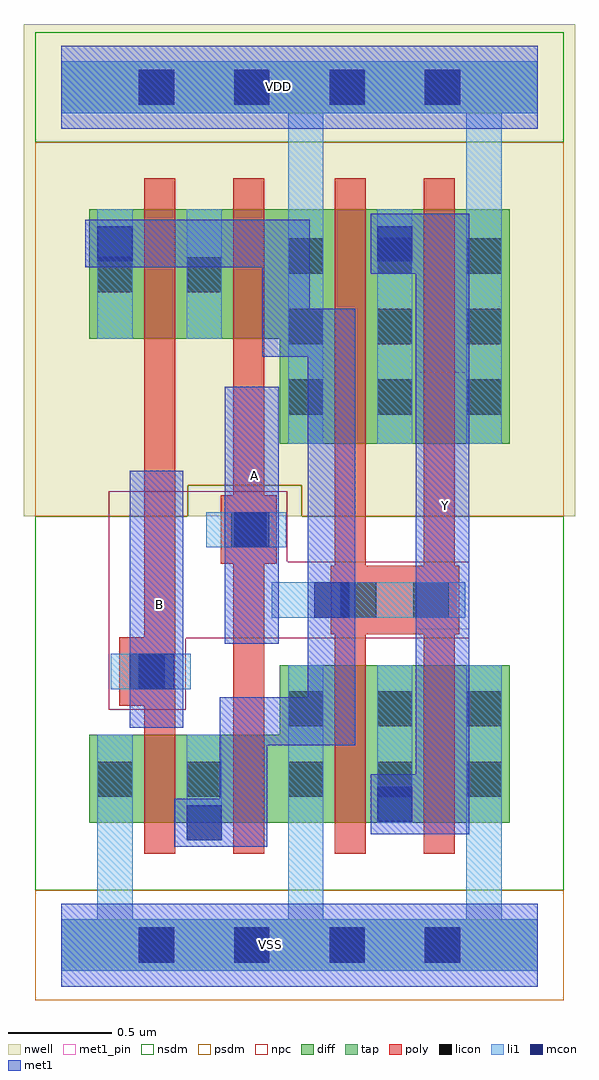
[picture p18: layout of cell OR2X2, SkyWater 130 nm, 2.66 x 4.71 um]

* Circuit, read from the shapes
.subckt OR2X2 A B VDD VSS Y
XM1 n1 B VSS VSS sky130_fd_pr__nfet_01v8 w=0.425 l=0.15
XM2 VSS A n1 VSS sky130_fd_pr__nfet_01v8 w=0.425 l=0.15
XM3 Y n1 VSS VSS sky130_fd_pr__nfet_01v8 w=0.76 l=0.15 m=2
XM4 n2 B n1 VDD sky130_fd_pr__pfet_01v8 w=0.625 l=0.15
XM5 VDD A n2 VDD sky130_fd_pr__pfet_01v8 w=0.625 l=0.15
XM6 Y n1 VDD VDD sky130_fd_pr__pfet_01v8 w=1.13 l=0.15 m=2
.ends

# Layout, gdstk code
from math import pi, radians
import gdstk
lib = gdstk.Library(unit=1e-6, precision=1e-09)
def R(c, l, rs):  # rectangles x0, y0, x1, y1
    for r in rs: c.add(gdstk.rectangle(r[:2], r[2:], *l))
def A(c, l, x, y, w, h, nx, ny, dx, dy):  # array of equal rectangles
    R(c, l, [(x+i*dx, y+j*dy, x+i*dx+w, y+j*dy+h) for i in range(nx) for j in range(ny)])
def P(c, l, *ps):  # polygons
    for p in ps: c.add(gdstk.Polygon(p, *l))
nwell = (64, 20)
diff = (65, 20)
tap = (65, 44)
poly = (66, 20)
licon = (66, 44)
li1 = (67, 20)
mcon = (67, 44)
met1_pin = (68, 16)
met1 = (68, 20)
nsdm = (93, 44)
psdm = (94, 20)
npc = (95, 20)

pfet_01v8_cdns_715785618 = lib.new_cell('pfet_01v8_CDNS_7157856182023')
R(pfet_01v8_cdns_715785618, nwell, [(-0.445,-0.18,1.025,1.31)])
R(pfet_01v8_cdns_715785618, diff, [(-0.265,0,0,1.13), (0,0,0.15,1.13), (0.15,0,0.43,1.13), (0.43,0,0.58,1.13), (0.58,0,0.845,1.13)])
R(pfet_01v8_cdns_715785618, poly, [(0,-0.15,0.15,-0.095), (0.43,-0.15,0.58,-0.095), (0,-0.095,0.15,0), (0.43,-0.095,0.58,0), (0,0,0.15,1.13), (0.43,0,0.58,1.13), (0,1.13,0.15,1.225), (0.43,1.13,0.58,1.225), (0,1.225,0.15,1.28), (0.43,1.225,0.58,1.28)])
A(pfet_01v8_cdns_715785618, licon, -0.225, 0.14, 0.17, 0.17, 3, 3, 0.43, 0.34)
A(pfet_01v8_cdns_715785618, li1, -0.225, 0, 0.17, 1.13, 3, 1, 0.43, 0)
R(pfet_01v8_cdns_715785618, psdm, [(-0.405,-0.13,0.985,1.26)])

c_pfet_01v8_cdns_715785618 = lib.new_cell('pfet_01v8_CDNS_7157856182035')
R(c_pfet_01v8_cdns_715785618, nwell, [(-0.255,-0.18,0.385,0.805)])
R(c_pfet_01v8_cdns_715785618, diff, [(-0.075,0,0,0.625), (0,0,0.15,0.625), (0.15,0,0.205,0.625)])
R(c_pfet_01v8_cdns_715785618, poly, [(0,-0.15,0.15,-0.095), (0,-0.095,0.15,0), (0,0,0.15,0.625), (0,0.625,0.15,0.72), (0,0.72,0.15,0.775)])
R(c_pfet_01v8_cdns_715785618, psdm, [(0.045,-0.13,0.215,0.755)])

nfet_01v8_cdns_715785618 = lib.new_cell('nfet_01v8_CDNS_7157856182011')
R(nfet_01v8_cdns_715785618, diff, [(-0.265,0,0,0.425), (0,0,0.15,0.425), (0.15,0,0.205,0.425)])
R(nfet_01v8_cdns_715785618, poly, [(0,-0.15,0.15,-0.095), (0,-0.095,0.15,0), (0,0,0.15,0.425), (0,0.425,0.15,0.52), (0,0.52,0.15,0.575)])
R(nfet_01v8_cdns_715785618, licon, [(-0.225,0.125,-0.055,0.295)])
R(nfet_01v8_cdns_715785618, li1, [(-0.225,0,-0.055,0.425)])
R(nfet_01v8_cdns_715785618, nsdm, [(-0.405,-0.13,0.215,0.555)])

c_nfet_01v8_cdns_715785618 = lib.new_cell('nfet_01v8_CDNS_71578561820120')
R(c_nfet_01v8_cdns_715785618, diff, [(-0.075,0,0,0.425), (0,0,0.15,0.425), (0.15,0,0.375,0.425)])
R(c_nfet_01v8_cdns_715785618, poly, [(0,-0.15,0.15,-0.095), (0,-0.095,0.15,0), (0,0,0.15,0.425), (0,0.425,0.15,0.52), (0,0.52,0.15,0.575)])
R(c_nfet_01v8_cdns_715785618, licon, [(0.205,0.125,0.375,0.295)])
R(c_nfet_01v8_cdns_715785618, li1, [(0.205,0,0.375,0.425)])
R(c_nfet_01v8_cdns_715785618, nsdm, [(0.045,-0.13,0.385,0.555)])

c_pfet_01v8_cdns_715785618_ = lib.new_cell('pfet_01v8_CDNS_7157856182098')
R(c_pfet_01v8_cdns_715785618_, nwell, [(-0.405,-0.18,0.595,0.805)])
R(c_pfet_01v8_cdns_715785618_, diff, [(-0.225,0,0,0.625), (0,0,0.15,0.625), (0.15,0,0.415,0.625)])
R(c_pfet_01v8_cdns_715785618_, poly, [(0,-0.15,0.15,-0.095), (0,-0.095,0.15,0), (0,0,0.15,0.625), (0,0.625,0.15,0.72), (0,0.72,0.15,0.775)])
R(c_pfet_01v8_cdns_715785618_, licon, [(0.205,0.225,0.375,0.395)])
R(c_pfet_01v8_cdns_715785618_, li1, [(0.205,0,0.375,0.625)])
R(c_pfet_01v8_cdns_715785618_, psdm, [(-0.235,-0.13,0.555,0.755)])

c_nfet_01v8_cdns_715785618_ = lib.new_cell('nfet_01v8_CDNS_7157856182028')
R(c_nfet_01v8_cdns_715785618_, diff, [(-0.265,0,0,0.76), (0,0,0.15,0.76), (0.15,0,0.43,0.76), (0.43,0,0.58,0.76), (0.58,0,0.845,0.76)])
R(c_nfet_01v8_cdns_715785618_, poly, [(0,-0.15,0.15,-0.095), (0.43,-0.15,0.58,-0.095), (0,-0.095,0.15,0), (0.43,-0.095,0.58,0), (0,0,0.15,0.76), (0.43,0,0.58,0.76), (0,0.76,0.15,0.855), (0.43,0.76,0.58,0.855), (0,0.855,0.15,0.91), (0.43,0.855,0.58,0.91)])
A(c_nfet_01v8_cdns_715785618_, licon, -0.225, 0.125, 0.17, 0.17, 3, 2, 0.43, 0.34)
A(c_nfet_01v8_cdns_715785618_, li1, -0.225, 0, 0.17, 0.76, 3, 1, 0.43, 0)
R(c_nfet_01v8_cdns_715785618_, nsdm, [(-0.405,-0.13,0.985,0.89)])

l1m1_c_cdns_715785618202 = lib.new_cell('L1M1_C_CDNS_715785618202')
R(l1m1_c_cdns_715785618202, li1, [(-0.085,-0.165,0.085,0.165)])
R(l1m1_c_cdns_715785618202, mcon, [(-0.085,-0.085,0.085,0.085)])
R(l1m1_c_cdns_715785618202, met1, [(-0.115,-0.145,0.115,0.145)])

c_l1m1_c_cdns_715785618202 = lib.new_cell('L1M1_C_CDNS_7157856182024')
R(c_l1m1_c_cdns_715785618202, li1, [(-0.085,-0.085,0.085,0.165)])
R(c_l1m1_c_cdns_715785618202, mcon, [(-0.085,-0.085,0.085,0.085)])
R(c_l1m1_c_cdns_715785618202, met1, [(-0.145,-0.115,0.145,0.115)])

pyl1con_c_cdns_715785618 = lib.new_cell('PYL1CON_C_CDNS_715785618200')
R(pyl1con_c_cdns_715785618, poly, [(-0.135,-0.165,0.135,0.165)])
R(pyl1con_c_cdns_715785618, licon, [(-0.085,-0.085,0.085,0.085)])
R(pyl1con_c_cdns_715785618, npc, [(-0.185,-0.185,0.185,0.185)])

l1m1_c_cdns_715785618203 = lib.new_cell('L1M1_C_CDNS_715785618203')
R(l1m1_c_cdns_715785618203, li1, [(-0.165,-0.085,0.165,0.085)])
R(l1m1_c_cdns_715785618203, mcon, [(-0.085,-0.085,0.085,0.085)])
R(l1m1_c_cdns_715785618203, met1, [(-0.115,-0.145,0.115,0.145)])

l1m1_c_cdns_715785618206 = lib.new_cell('L1M1_C_CDNS_715785618206')
R(l1m1_c_cdns_715785618206, li1, [(-0.085,-0.165,0.085,0.165)])
R(l1m1_c_cdns_715785618206, mcon, [(-0.085,-0.085,0.085,0.085)])
R(l1m1_c_cdns_715785618206, met1, [(-0.145,-0.115,0.145,0.115)])

l1m1_c_cdns_715785618201 = lib.new_cell('L1M1_C_CDNS_7157856182010')
R(l1m1_c_cdns_715785618201, li1, [(-0.085,-0.085,0.085,0.165)])
R(l1m1_c_cdns_715785618201, mcon, [(-0.085,-0.085,0.085,0.085)])
R(l1m1_c_cdns_715785618201, met1, [(-0.115,-0.145,0.115,0.145)])

or2x2 = lib.new_cell('OR2X2')
R(or2x2, nwell, [(-0.18,2.07,2.48,4.305), (-0.18,3.875,2.48,4.445)])
R(or2x2, poly, [(1.3,1.5,1.92,1.83)])
R(or2x2, licon, [(0.375,-0.085,0.545,0.085), (0.375,-0.085,0.545,0.085), (0.835,-0.085,1.005,0.085), (0.835,-0.085,1.005,0.085), (1.295,-0.085,1.465,0.085), (1.295,-0.085,1.465,0.085), (1.755,-0.085,1.925,0.085), (1.755,-0.085,1.925,0.085), (0.605,3.15,0.775,3.32), (0.375,4.055,0.545,4.225), (0.375,4.055,0.545,4.225), (0.835,4.055,1.005,4.225), (0.835,4.055,1.005,4.225), (1.295,4.055,1.465,4.225), (1.295,4.055,1.465,4.225), (1.755,4.055,1.925,4.225), (1.755,4.055,1.925,4.225)])
R(or2x2, li1, [(0.605,2.925,0.775,3.55)])
R(or2x2, mcon, [(0.375,-0.085,0.545,0.085), (0.375,-0.085,0.545,0.085), (0.835,-0.085,1.005,0.085), (0.835,-0.085,1.005,0.085), (1.295,-0.085,1.465,0.085), (1.295,-0.085,1.465,0.085), (1.755,-0.085,1.925,0.085), (1.755,-0.085,1.925,0.085), (0.375,4.055,0.545,4.225), (0.375,4.055,0.545,4.225), (0.835,4.055,1.005,4.225), (0.835,4.055,1.005,4.225), (1.295,4.055,1.465,4.225), (1.295,4.055,1.465,4.225), (1.755,4.055,1.925,4.225), (1.755,4.055,1.925,4.225)])
R(or2x2, met1_pin, [(0.33,1.05,0.59,2.29), (0.79,1.455,1.05,2.695), (1.71,1.525,1.97,2.765)])
R(or2x2, nsdm, [(-0.125,3.875,2.425,4.405), (-0.125,3.875,2.425,4.405), (-0.125,3.93,2.425,4.35), (-0.125,3.93,2.425,4.35)])
P(or2x2, nsdm, [(2.425,2.07),(1.16,2.07),(1.16,2.22),(0.61,2.22),(0.61,2.07),(-0.125,2.07),(-0.125,0.265),(2.425,0.265)])
R(or2x2, psdm, [(-0.125,-0.265,2.425,0.265), (-0.125,-0.21,2.425,0.21)])
P(or2x2, psdm, [(2.425,3.875),(-0.125,3.875),(-0.125,2.07),(0.61,2.07),(0.61,2.22),(1.16,2.22),(1.16,2.07),(2.425,2.07)])
P(or2x2, npc, [(1.97,1.85),(1.09,1.85),(1.09,2.19),(0.23,2.19),(0.23,1.14),(0.6,1.14),(0.6,1.48),(1.97,1.48)])
or2x2.add(gdstk.FlexPath([(1.395,2.27),(1.395,1.5)], 0.15, ends="flush", simple_path=True, layer=66, datatype=20))  # poly
or2x2.add(gdstk.FlexPath([(1.825,2.27),(1.825,1.5)], 0.15, ends="flush", simple_path=True, layer=66, datatype=20))  # poly
or2x2.add(gdstk.FlexPath([(0.475,2.775),(0.475,1.165)], 0.15, ends="flush", simple_path=True, layer=66, datatype=20))  # poly
or2x2.add(gdstk.FlexPath([(0.905,2.775),(0.905,1.165)], 0.15, ends="flush", simple_path=True, layer=66, datatype=20))  # poly
or2x2.add(gdstk.FlexPath([(0.24,1.32),(0.6,1.32)], 0.17, ends="flush", simple_path=True, layer=67, datatype=20))  # li1
or2x2.add(gdstk.FlexPath([(1.015,1.665),(1.95,1.665)], 0.17, ends="flush", simple_path=True, layer=67, datatype=20))  # li1
or2x2.add(gdstk.FlexPath([(0.7,2.005),(1.07,2.005)], 0.17, ends="flush", simple_path=True, layer=67, datatype=20))  # li1
or2x2.add(gdstk.FlexPath([(2.215,0),(0,0)], 0.25, ends=(0.085, 0), simple_path=True, layer=67, datatype=20))  # li1
or2x2.add(gdstk.FlexPath([(2.215,0),(0,0)], 0.25, ends=(0.085, 0), simple_path=True, layer=67, datatype=20))  # li1
or2x2.add(gdstk.FlexPath([(2.215,4.14),(0,4.14)], 0.25, ends=(0.085, 0), simple_path=True, layer=67, datatype=20))  # li1
or2x2.add(gdstk.FlexPath([(2.215,4.14),(0,4.14)], 0.25, ends=(0.085, 0), simple_path=True, layer=67, datatype=20))  # li1
or2x2.add(gdstk.FlexPath([(1.18,3.51),(1.18,4.14)], 0.17, ends="flush", simple_path=True, layer=67, datatype=20))  # li1
or2x2.add(gdstk.FlexPath([(0.26,0.61),(0.26,0)], 0.17, ends="flush", simple_path=True, layer=67, datatype=20))  # li1
or2x2.add(gdstk.FlexPath([(1.18,0.61),(1.18,0)], 0.17, ends="flush", simple_path=True, layer=67, datatype=20))  # li1
or2x2.add(gdstk.FlexPath([(2.04,3.51),(2.04,4.14)], 0.17, ends="flush", simple_path=True, layer=67, datatype=20))  # li1
or2x2.add(gdstk.FlexPath([(2.04,0.61),(2.04,0)], 0.17, ends="flush", simple_path=True, layer=67, datatype=20))  # li1
or2x2.add(gdstk.FlexPath([(0,0),(2.3,0)], 0.25, ends="flush", simple_path=True, layer=65, datatype=44))  # tap
or2x2.add(gdstk.FlexPath([(0,0),(2.3,0)], 0.25, ends="flush", simple_path=True, layer=65, datatype=44))  # tap
or2x2.add(gdstk.FlexPath([(0,4.14),(2.3,4.14)], 0.25, ends="flush", simple_path=True, layer=65, datatype=44))  # tap
or2x2.add(gdstk.FlexPath([(0,4.14),(2.3,4.14)], 0.25, ends="flush", simple_path=True, layer=65, datatype=44))  # tap
or2x2.add(gdstk.FlexPath([(1.305,1.425),(1.305,1.08)], 0.23, ends=(0, 0.115), simple_path=True, layer=68, datatype=20))  # met1
or2x2.add(gdstk.FlexPath([(1.085,2.955),(1.305,2.955)], 0.23, ends="extended", simple_path=True, layer=68, datatype=20))  # met1
or2x2.add(gdstk.FlexPath([(0.46,1.05),(0.46,2.29)], 0.26, ends="flush", simple_path=True, layer=68, datatype=20))  # met1
or2x2.add(gdstk.FlexPath([(0.92,1.455),(0.92,2.695)], 0.26, ends="flush", simple_path=True, layer=68, datatype=20))  # met1
or2x2.add(gdstk.FlexPath([(1.305,1.08),(0.88,1.08)], 0.23, ends="extended", simple_path=True, layer=68, datatype=20))  # met1
or2x2.add(gdstk.FlexPath([(1.305,2.955),(1.305,1.92)], 0.23, ends=(0.115, 0), simple_path=True, layer=68, datatype=20))  # met1
or2x2.add(gdstk.FlexPath([(1.305,1.92),(1.305,1.68)], 0.23, ends=(0, 0.115), simple_path=True, layer=68, datatype=20))  # met1
or2x2.add(gdstk.FlexPath([(0.275,3.385),(1.085,3.385)], 0.23, ends=(0, 0.115), simple_path=True, layer=68, datatype=20))  # met1
or2x2.add(gdstk.FlexPath([(1.305,1.68),(1.305,1.425)], 0.23, ends=(0, 0.115), simple_path=True, layer=68, datatype=20))  # met1
or2x2.add(gdstk.FlexPath([(1.085,3.385),(1.085,2.955)], 0.23, ends=(0, 0.115), simple_path=True, layer=68, datatype=20))  # met1
or2x2.add(gdstk.FlexPath([(0.88,1.08),(0.88,0.475)], 0.23, ends=(0.115, 0), simple_path=True, layer=68, datatype=20))  # met1
or2x2.add(gdstk.FlexPath([(1.84,0.535),(1.84,3.53)], 0.26, ends="flush", simple_path=True, layer=68, datatype=20))  # met1
or2x2.add(gdstk.FlexPath([(0,0),(2.3,0)], 0.4, ends="flush", simple_path=True, layer=68, datatype=20))  # met1
or2x2.add(gdstk.FlexPath([(0,4.14),(2.3,4.14)], 0.4, ends="flush", simple_path=True, layer=68, datatype=20))  # met1
or2x2.add(gdstk.FlexPath([(0,0),(2.3,0)], 0.4, ends="flush", simple_path=True, layer=68, datatype=16))  # met1_pin
or2x2.add(gdstk.FlexPath([(0,4.14),(2.3,4.14)], 0.4, ends="flush", simple_path=True, layer=68, datatype=16))  # met1_pin
or2x2.add(gdstk.FlexPath([(0,4.14),(2.3,4.14)], 0.4, ends="flush", simple_path=True, layer=68, datatype=16))  # met1_pin
or2x2.add(gdstk.FlexPath([(0,0),(2.3,0)], 0.4, ends="flush", simple_path=True, layer=68, datatype=16))  # met1_pin
or2x2.add(gdstk.Reference(pfet_01v8_cdns_715785618, (1.32,2.42)))
or2x2.add(gdstk.Reference(c_pfet_01v8_cdns_715785618, (0.98,2.925), rotation=pi, x_reflection=True))
or2x2.add(gdstk.Reference(nfet_01v8_cdns_715785618, (0.4,0.59)))
or2x2.add(gdstk.Reference(c_nfet_01v8_cdns_715785618, (0.98,0.59), rotation=pi, x_reflection=True))
or2x2.add(gdstk.Reference(c_pfet_01v8_cdns_715785618_, (0.55,2.925), rotation=pi, x_reflection=True))
or2x2.add(gdstk.Reference(c_nfet_01v8_cdns_715785618_, (1.32,0.59)))
or2x2.add(gdstk.Reference(l1m1_c_cdns_715785618202, (1.61,3.385)))
or2x2.add(gdstk.Reference(c_l1m1_c_cdns_715785618202, (0.69,0.59)))
or2x2.add(gdstk.Reference(pyl1con_c_cdns_715785618, (1.435,1.665)))
or2x2.add(gdstk.Reference(pyl1con_c_cdns_715785618, (0.905,2.005)))
or2x2.add(gdstk.Reference(pyl1con_c_cdns_715785618, (1.785,1.665)))
or2x2.add(gdstk.Reference(pyl1con_c_cdns_715785618, (0.415,1.32)))
or2x2.add(gdstk.Reference(l1m1_c_cdns_715785618203, (0.92,2.005), x_reflection=True))
or2x2.add(gdstk.Reference(l1m1_c_cdns_715785618203, (0.46,1.32), x_reflection=True))
or2x2.add(gdstk.Reference(l1m1_c_cdns_715785618203, (1.305,1.665)))
or2x2.add(gdstk.Reference(l1m1_c_cdns_715785618206, (0.26,3.385)))
or2x2.add(gdstk.Reference(l1m1_c_cdns_715785618201, (1.61,0.68)))
or2x2.add(gdstk.Label('VDD', (1.05,4.145), layer=68, texttype=20))
or2x2.add(gdstk.Label('A', (0.935,2.265), layer=68, texttype=20))
or2x2.add(gdstk.Label('B', (0.475,1.645), layer=68, texttype=20))
or2x2.add(gdstk.Label('Y', (1.855,2.12), layer=68, texttype=20))
or2x2.add(gdstk.Label('VSS', (1.01,0.005), layer=68, texttype=20))

lib.write_gds('OR2X2.gds')
